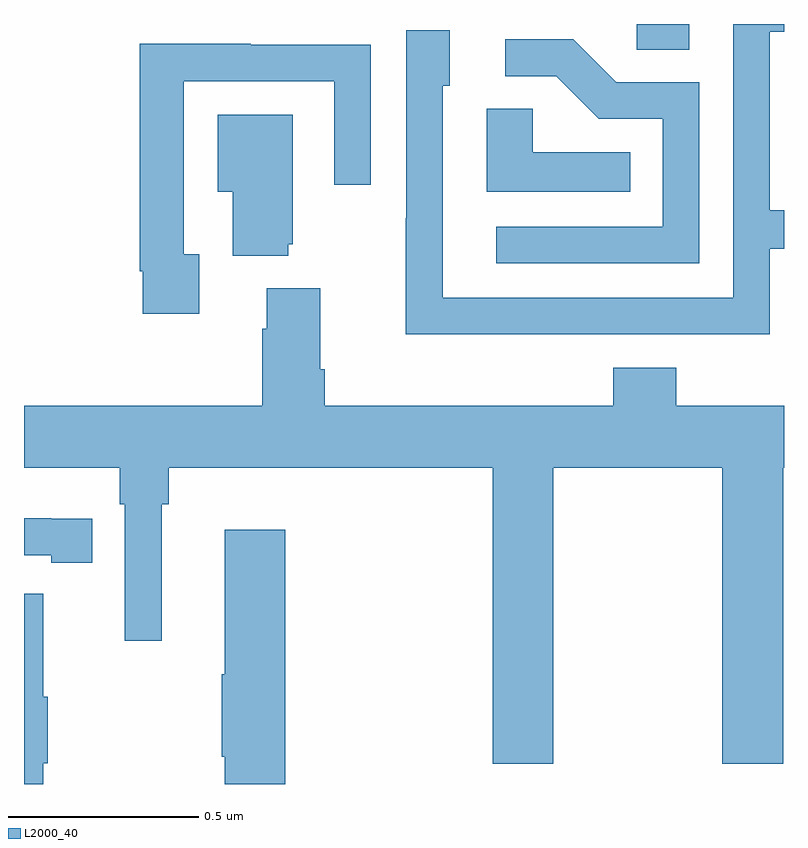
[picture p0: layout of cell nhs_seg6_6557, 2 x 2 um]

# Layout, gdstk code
import gdstk
lib = gdstk.Library(unit=1e-6, precision=1e-09)
def R(c, l, rs):  # rectangles x0, y0, x1, y1
    for r in rs: c.add(gdstk.rectangle(r[:2], r[2:], *l))
def P(c, l, *ps):  # polygons
    for p in ps: c.add(gdstk.Polygon(p, *l))
L2000_40 = (2000, 40)

nhs_seg6_6557 = lib.new_cell('nhs_seg6_6557')
R(nhs_seg6_6557, L2000_40, [(198.612,952.432,198.751,952.5)])
P(nhs_seg6_6557, L2000_40, [(198.467,951.684),(198.963,951.684),(198.963,951.909),(199,951.909),(199,952.01),(198.963,952.01),(198.963,952.479),(199,952.479),(199,952.5),(198.867,952.5),(198.867,951.78),(198.102,951.78),(198.102,952.338),(198.121,952.338),(198.121,952.483),(198.006,952.483),(198.006,951.989),(198.004,951.989),(198.004,951.683),(198.467,951.683)],
  [(198.777,952.347),(198.558,952.347),(198.445,952.46),(198.267,952.46),(198.267,952.362),(198.401,952.362),(198.512,952.251),(198.681,952.251),(198.681,951.966),(198.243,951.966),(198.243,951.87),(198.777,951.87)],
  [(197.461,951.894),(197.421,951.894),(197.421,952.35),(197.817,952.35),(197.817,952.077),(197.913,952.077),(197.913,952.446),(197.597,952.446),(197.597,952.448),(197.305,952.448),(197.305,951.85),(197.313,951.85),(197.313,951.738),(197.461,951.738)],
  [(198.596,952.162),(198.339,952.162),(198.339,952.277),(198.218,952.277),(198.218,952.058),(198.596,952.058)],
  [(197.696,951.921),(197.707,951.921),(197.707,952.261),(197.51,952.261),(197.51,952.058),(197.549,952.058),(197.549,951.89),(197.696,951.89)],
  [(198.233,950.553),(198.393,950.553),(198.393,951.332),(198.838,951.332),(198.838,950.553),(198.998,950.553),(198.998,951.332),(199,951.332),(199,951.496),(198.716,951.496),(198.716,951.595),(198.551,951.595),(198.551,951.496),(197.792,951.496),(197.792,951.592),(197.779,951.592),(197.779,951.805),(197.639,951.805),(197.639,951.698),(197.627,951.698),(197.627,951.496),(197,951.496),(197,951.332),(197.252,951.332),(197.252,951.236),(197.265,951.236),(197.265,950.877),(197.362,950.877),(197.362,951.236),(197.381,951.236),(197.381,951.332),(198.233,951.332)],
  [(197.18,951.198),(197.072,951.198),(197.072,951.199),(197,951.199),(197,951.102),(197.072,951.102),(197.072,951.082),(197.18,951.082)],
  [(197.687,951.169),(197.528,951.169),(197.528,950.789),(197.521,950.789),(197.521,950.572),(197.528,950.572),(197.528,950.5),(197.687,950.5)],
  [(197.051,950.555),(197.062,950.555),(197.062,950.729),(197.051,950.729),(197.051,951.001),(197,951.001),(197,950.5),(197.051,950.5)])

lib.write_gds('nhs_seg6_6557.gds')
